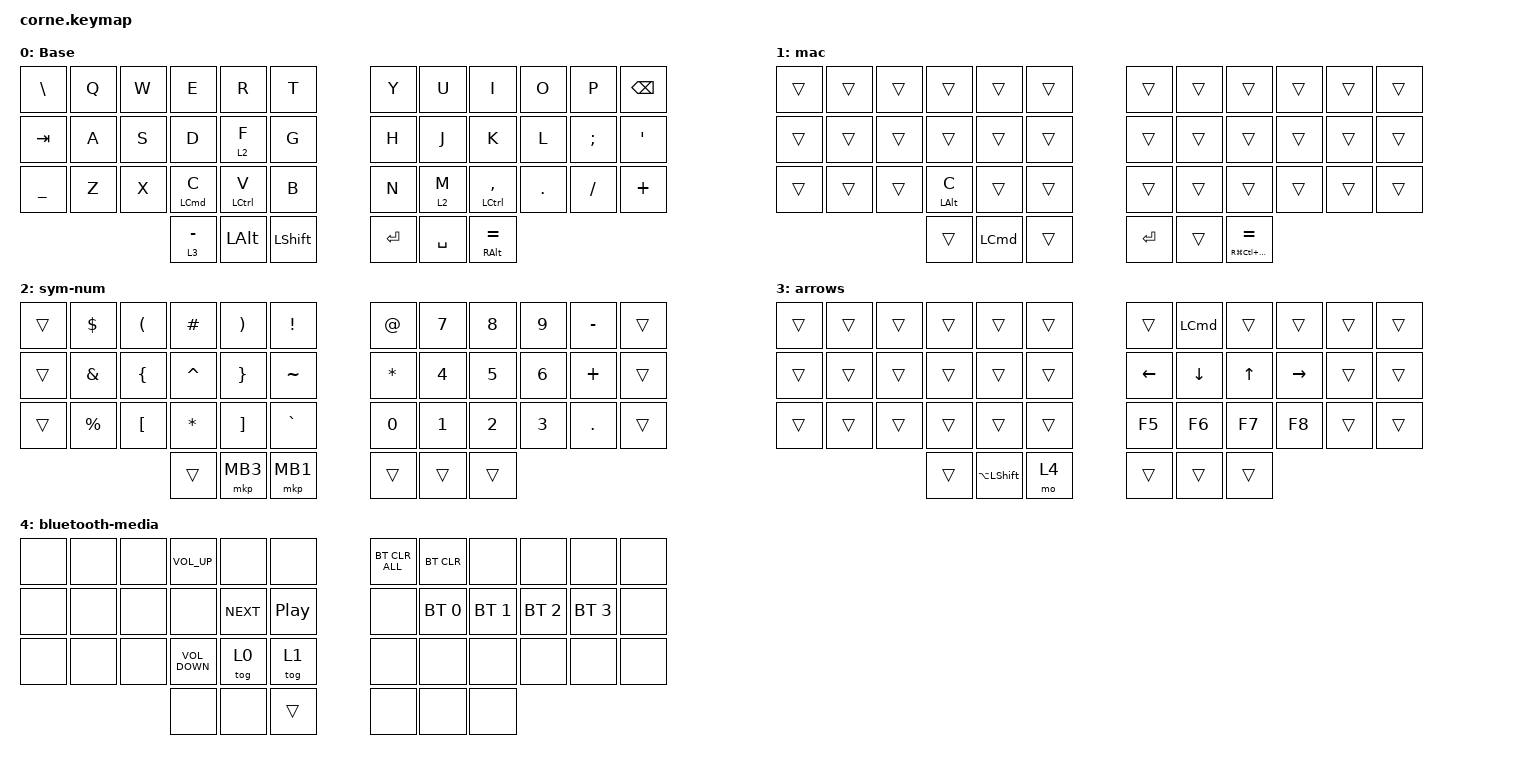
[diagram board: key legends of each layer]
/*
 * Copyright (c) 2020 The ZMK Contributors
 *
 * SPDX-License-Identifier: MIT
 */

#include <behaviors.dtsi>
#include <dt-bindings/zmk/bt.h>
#include <dt-bindings/zmk/keys.h>
#include <dt-bindings/zmk/pointing.h>

/ {
    behaviors {
        faster_mt: faster_mt {
            compatible = "zmk,behavior-hold-tap";
            label = "FASTER_MT";
            bindings = <&kp>, <&kp>;

            #binding-cells = <2>;
            flavor = "balanced";
            tapping-term-ms = <200>;
        };

        faster_lt: faster_lt {
            compatible = "zmk,behavior-hold-tap";
            label = "FASTER_LT";
            bindings = <&mo>, <&kp>;

            #binding-cells = <2>;
            tapping-term-ms = <200>;
            flavor = "balanced";
        };
    };

    keymap {
        compatible = "zmk,keymap";

        main {
            // -----------------------------------------------------------------------------------------
            // |  TAB |  Q  |  W  |  E  |  R  |  T  |   |  Y  |  U   |  I  |  O  |  P  | BKSP |
            // | CTRL |  A  |  S  |  D  |  F  |  G  |   |  H  |  J   |  K  |  L  |  ;  |  '   |
            // | SHFT |  Z  |  X  |  C  |  V  |  B  |   |  N  |  M   |  ,  |  .  |  /  | ESC  |
            //                    | GUI | LWR | SPC |   | ENT | RSE  | ALT |

            display-name = "Base";
            bindings = <
&kp BACKSLASH  &kp Q  &kp W  &kp E                      &kp R               &kp T             &kp Y    &kp U           &kp I                          &kp O    &kp P     &kp BSPC
&kp TAB        &kp A  &kp S  &kp D                      &faster_lt 2 F      &kp G             &kp H    &kp J           &kp K                          &kp L    &kp SEMI  &kp SQT
&kp UNDER      &kp Z  &kp X  &faster_mt LEFT_COMMAND C  &faster_mt LCTRL V  &kp B             &kp N    &faster_lt 2 M  &faster_mt LEFT_CONTROL COMMA  &kp DOT  &kp FSLH  &kp PLUS
                             &faster_lt 3 MINUS         &kp LEFT_ALT        &kp LEFT_SHIFT    &kp RET  &kp SPACE       &faster_mt RIGHT_ALT EQUAL
            >;
        };

        mac {
            // -----------------------------------------------------------------------------------------
            // |  TAB |  1  |  2  |  3  |  4  |  5  |   |  6  |  7  |  8  |  9  |  0  | BKSP |
            // | BTCLR| BT1 | BT2 | BT3 | BT4 | BT5 |   | LFT | DWN |  UP | RGT |     |      |
            // | SHFT |     |     |     |     |     |   |     |     |     |     |     |      |
            //                    | GUI |     | SPC |   | ENT |     | ALT |

            display-name = "mac";
            bindings = <
&trans  &trans  &trans  &trans                 &trans            &trans    &trans   &trans  &trans                                      &trans  &trans  &trans
&trans  &trans  &trans  &trans                 &trans            &trans    &trans   &trans  &trans                                      &trans  &trans  &trans
&trans  &trans  &trans  &faster_mt LEFT_ALT C  &trans            &trans    &trans   &trans  &trans                                      &trans  &trans  &trans
                        &trans                 &kp LEFT_COMMAND  &trans    &kp RET  &trans  &faster_mt RG(LC(LA(RIGHT_COMMAND))) EQUAL
            >;
        };

        symbols {
            // -----------------------------------------------------------------------------------------
            // |  TAB |  !  |  @  |  #  |  $  |  %  |   |  ^  |  &  |  *  |  (  |  )  | BKSP |
            // | CTRL |     |     |     |     |     |   |  -  |  =  |  [  |  ]  |  \  |  `   |
            // | SHFT |     |     |     |     |     |   |  _  |  +  |  {  |  }  | "|" |  ~   |
            //                    | GUI |     | SPC |   | ENT |     | ALT |

            display-name = "sym-num";
            bindings = <
&trans  &kp DOLLAR     &kp LEFT_PARENTHESIS  &kp HASH      &kp RIGHT_PARENTHESIS  &kp EXCLAMATION    &kp AT_SIGN   &kp N7        &kp N8        &kp N9        &kp MINUS   &trans
&trans  &kp AMPERSAND  &kp LEFT_BRACE        &kp CARET     &kp RIGHT_BRACE        &kp TILDE          &kp ASTERISK  &kp NUMBER_4  &kp N5        &kp NUMBER_6  &kp PLUS    &trans
&trans  &kp PERCENT    &kp LEFT_BRACKET      &kp ASTERISK  &kp RIGHT_BRACKET      &kp GRAVE          &kp N0        &kp NUMBER_1  &kp NUMBER_2  &kp NUMBER_3  &kp PERIOD  &trans
                                             &trans        &mkp MB3               &mkp MB1           &trans        &trans        &trans
            >;
        };

        arrows {
            bindings = <
&trans  &trans  &trans  &trans  &trans              &trans    &trans          &kp LEFT_COMMAND  &trans        &trans     &trans  &trans
&trans  &trans  &trans  &trans  &trans              &trans    &kp LEFT_ARROW  &kp DOWN_ARROW    &kp UP_ARROW  &kp RIGHT  &trans  &trans
&trans  &trans  &trans  &trans  &trans              &trans    &kp F5          &kp F6            &kp F7        &kp F8     &trans  &trans
                        &trans  &kp LA(LEFT_SHIFT)  &mo 4     &trans          &trans            &trans
            >;

            label = "arrows";
        };

        Bluetooth {
            bindings = <
&none  &none  &none  &kp C_VOLUME_UP    &none       &none               &bt BT_CLR_ALL  &bt BT_CLR    &none         &none         &none         &none
&none  &none  &none  &none              &kp C_NEXT  &kp C_PLAY_PAUSE    &none           &bt BT_SEL 0  &bt BT_SEL 1  &bt BT_SEL 2  &bt BT_SEL 3  &none
&none  &none  &none  &kp C_VOLUME_DOWN  &tog 0      &tog 1              &none           &none         &none         &none         &none         &none
                     &none              &none       &trans              &none           &none         &none
            >;

            label = "bluetooth-media";
        };
    };
};
